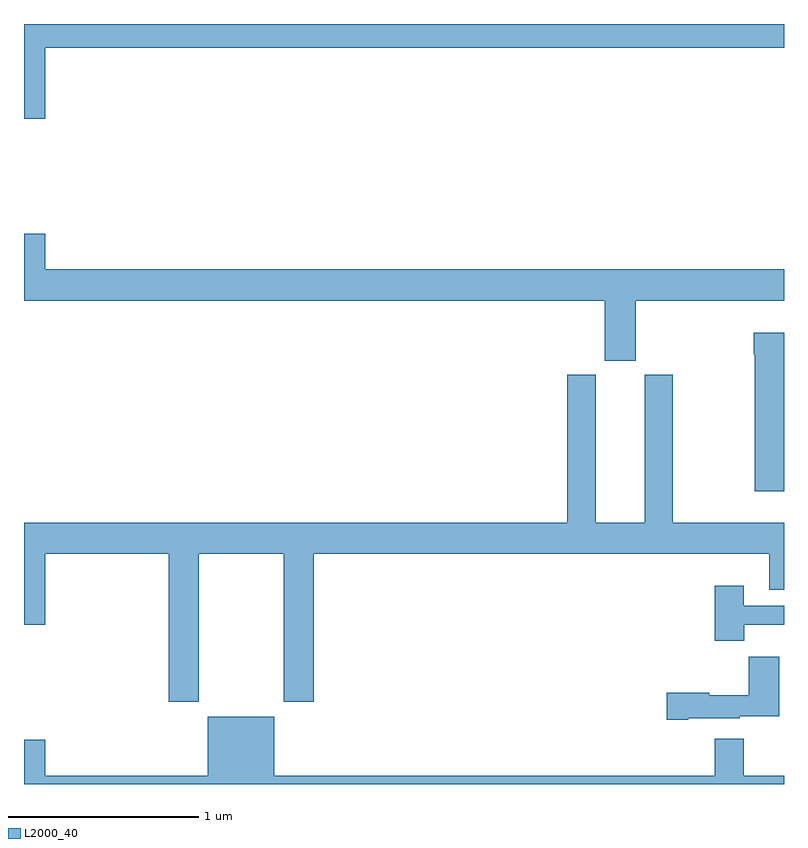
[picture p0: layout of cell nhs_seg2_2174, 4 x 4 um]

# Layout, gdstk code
import gdstk
lib = gdstk.Library(unit=1e-6, precision=1e-09)
def P(c, l, *ps):  # polygons
    for p in ps: c.add(gdstk.Polygon(p, *l))
L2000_40 = (2000, 40)

nhs_seg2_2174 = lib.new_cell('nhs_seg2_2174')
P(nhs_seg2_2174, L2000_40, [(225.112,607.676),(229,607.676),(229,607.8),(225,607.8),(225,607.302),(225.112,607.302)],
  [(228.22,606.344),(229,606.344),(229,606.508),(225.112,606.508),(225.112,606.697),(225,606.697),(225,606.344),(228.056,606.344),(228.056,606.027),(228.22,606.027)],
  [(229,606.175),(228.842,606.175),(228.842,606.062),(228.847,606.062),(228.847,605.34),(229,605.34)],
  [(225.921,605.012),(226.366,605.012),(226.366,604.233),(226.526,604.233),(226.526,605.012),(228.923,605.012),(228.923,604.822),(229,604.822),(229,605.176),(228.414,605.176),(228.414,605.955),(228.266,605.955),(228.266,605.176),(228.01,605.176),(228.01,605.955),(227.858,605.955),(227.858,605.176),(225,605.176),(225,604.638),(225.112,604.638),(225.112,605.012),(225.761,605.012),(225.761,604.233),(225.921,604.233)],
  [(228.79,604.638),(229,604.638),(229,604.737),(228.787,604.737),(228.787,604.843),(228.635,604.843),(228.635,604.553),(228.79,604.553)],
  [(228.496,604.145),(228.768,604.145),(228.768,604.157),(228.976,604.157),(228.976,604.471),(228.814,604.471),(228.814,604.267),(228.606,604.267),(228.606,604.28),(228.384,604.28),(228.384,604.138),(228.496,604.138)],
  [(229,603.844),(228.787,603.844),(228.787,604.039),(228.635,604.039),(228.635,603.844),(226.318,603.844),(226.318,604.153),(225.968,604.153),(225.968,603.844),(225.112,603.844),(225.112,604.033),(225,604.033),(225,603.8),(229,603.8)])

lib.write_gds('nhs_seg2_2174.gds')
